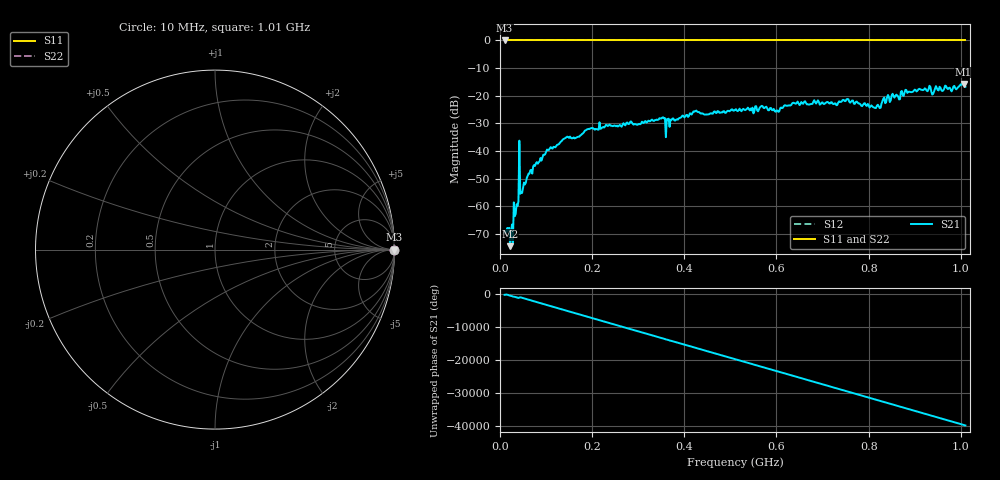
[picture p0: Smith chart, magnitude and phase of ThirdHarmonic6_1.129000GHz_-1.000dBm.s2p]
! 8/16/2025 10:57:47 AM
! C:\ANRITSUVNA\TEMP\TEMP.S2P
! CHANNEL.1
! TR.MEASUREMENT
! RAW.DATA
! RF.CORRECTION.OFF
! AVERAGING.OFF
! IF.BANDWIDTH: 5KHZ
! SWEEPTYPE:  FREQ.SWEEP(Linear)
! Reference Plane Port Info
! PORT:  PORT1  PORT2
! DISTANCE:  0  m  0  m
! TIME:  0  s  0  s
! PHASE.OFFSET:  0  deg.  0  deg.
! LOSS:  0  dB  0  dB
! REF.LOSS:  0  dB  0  dB
! REF.FREQ:  0  Hz  0  Hz
! Power Info
! POWER:  -20  dBm  -20  dBm
! EFF.POWER:  -20  dBm  -20  dBm
! SOURCE.ATTEN:  0  dB  0  dB
! TEST.ATTEN:  0  dB  0  dB
# GHZ S RI R 50.0
! FREQ.GHZ  S11RE  S11IM  S21RE  S21IM  S12RE  S12IM  S22RE  S22IM
!; PortSelection: Port_12
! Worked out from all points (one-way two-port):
!   501 points, 10 MHz to 1.01 GHz, reference 50 ohm
!   highest |S21| = -15.73 dB at 1.006 GHz (marker M1); lowest = -74.4 dB at 22 MHz (marker M2)
!   lowest |S11| = 0.0 dB at 10 MHz (marker M3)
!   |S11| at or under -10 dB: nowhere
!   |S22| runs from 0.0 to 0.0 dB; largest |S21 - S12| = 1.1
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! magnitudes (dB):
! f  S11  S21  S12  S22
! 10 MHz  0.0  -69.5  0.0  0.0
! 22 MHz  0.0  -74.4  0.0  0.0
! 24 MHz  0.0  -69.7  0.0  0.0
! 34 MHz  0.0  -62.8  0.0  0.0
! 36 MHz  0.0  -59.3  0.0  0.0
! 38 MHz  0.0  -59.9  0.0  0.0
! 46 MHz  0.0  -55.0  0.0  0.0
! 48 MHz  0.0  -55.1  0.0  0.0
! 64 MHz  0.0  -48.1  0.0  0.0
! 106 MHz  0.0  -39.6  0.0  0.0
! 178 MHz  0.0  -33.8  0.0  0.0
! 344 MHz  0.0  -28.6  0.0  0.0
! 364 MHz  0.0  -28.5  0.0  0.0
! 424 MHz  0.0  -25.5  0.0  0.0
! 510 MHz  0.0  -25.1  0.0  0.0
! 602 MHz  0.0  -25.3  0.0  0.0
! 678 MHz  0.0  -22.9  0.0  0.0
! 752 MHz  0.0  -21.3  0.0  0.0
! 812 MHz  0.0  -24.3  0.0  0.0
! 844 MHz  0.0  -20.5  0.0  0.0
! 1.006 GHz  0.0  -15.7  0.0  0.0
! 1.01 GHz  0.0  -16.8  0.0  0.0
